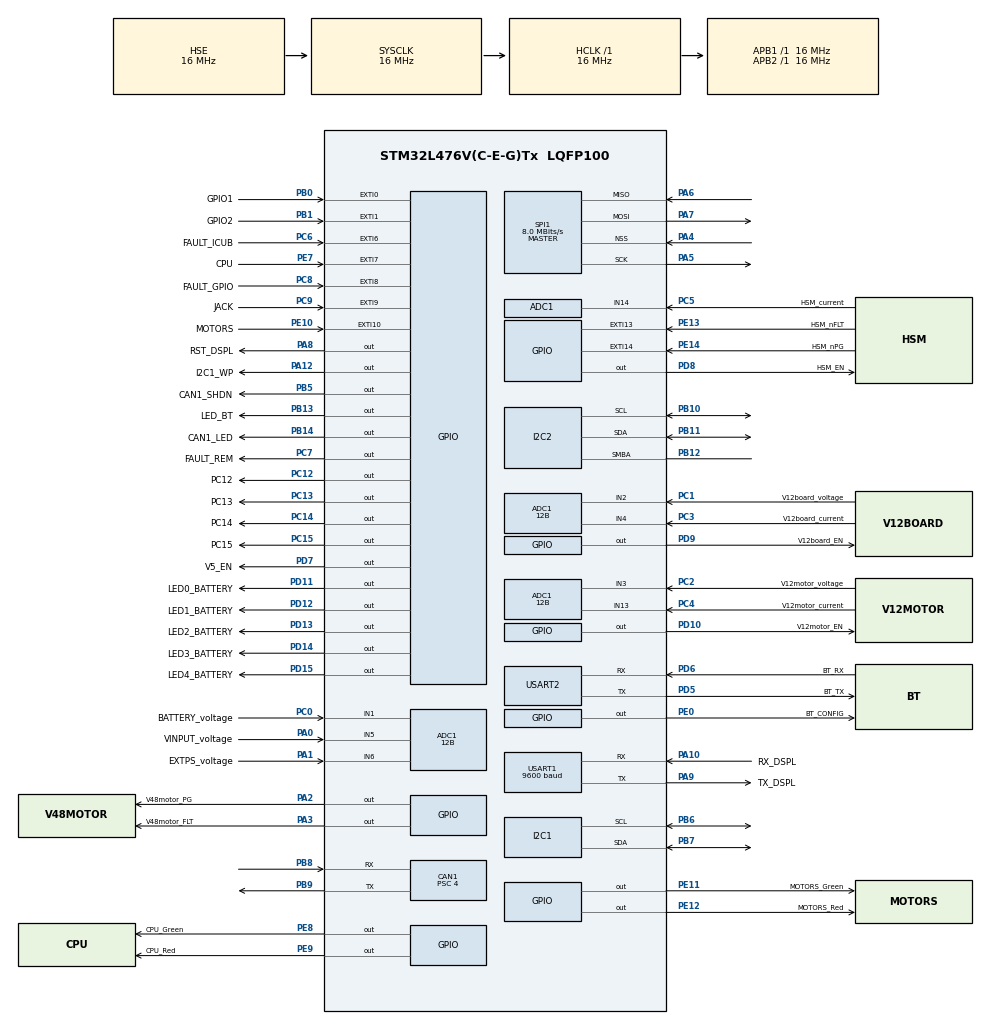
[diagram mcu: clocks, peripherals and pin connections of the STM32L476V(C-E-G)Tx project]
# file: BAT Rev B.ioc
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ADC1.Channel-11\#ChannelRegularConversion=ADC_CHANNEL_TEMPSENSOR
ADC1.Channel-2\#ChannelRegularConversion=ADC_CHANNEL_5
ADC1.Channel-3\#ChannelRegularConversion=ADC_CHANNEL_6
ADC1.Channel-4\#ChannelRegularConversion=ADC_CHANNEL_1
ADC1.Channel-5\#ChannelRegularConversion=ADC_CHANNEL_2
ADC1.Channel-6\#ChannelRegularConversion=ADC_CHANNEL_3
ADC1.Channel-7\#ChannelRegularConversion=ADC_CHANNEL_4
ADC1.Channel-8\#ChannelRegularConversion=ADC_CHANNEL_13
ADC1.Channel-9\#ChannelRegularConversion=ADC_CHANNEL_14
ADC1.ClockPrescaler=ADC_CLOCK_SYNC_PCLK_DIV1
ADC1.ContinuousConvMode=ENABLE
ADC1.DMAContinuousRequests=ENABLE
ADC1.DataAlign=ADC_DATAALIGN_RIGHT
ADC1.DiscontinuousConvMode=DISABLE
ADC1.EOCSelection=ADC_EOC_SEQ_CONV
ADC1.EnableAnalogWatchDog1=false
ADC1.EnableAnalogWatchDog2=false
ADC1.EnableAnalogWatchDog3=false
ADC1.EnableInjectedConversion=DISABLE
ADC1.EnableRegularConversion=ENABLE
ADC1.ExternalTrigConv=ADC_SOFTWARE_START
ADC1.ExternalTrigConvEdge=ADC_EXTERNALTRIGCONVEDGE_NONE
ADC1.LowPowerAutoWait=DISABLE
ADC1.NbrOfConversion=9
ADC1.NbrOfConversionFlag=1
ADC1.OffsetNumber-11\#ChannelRegularConversion=ADC_OFFSET_NONE
ADC1.OffsetNumber-2\#ChannelRegularConversion=ADC_OFFSET_NONE
ADC1.OffsetNumber-3\#ChannelRegularConversion=ADC_OFFSET_NONE
ADC1.OffsetNumber-4\#ChannelRegularConversion=ADC_OFFSET_NONE
ADC1.OffsetNumber-5\#ChannelRegularConversion=ADC_OFFSET_NONE
ADC1.OffsetNumber-6\#ChannelRegularConversion=ADC_OFFSET_NONE
ADC1.OffsetNumber-7\#ChannelRegularConversion=ADC_OFFSET_NONE
ADC1.OffsetNumber-8\#ChannelRegularConversion=ADC_OFFSET_NONE
ADC1.OffsetNumber-9\#ChannelRegularConversion=ADC_OFFSET_NONE
ADC1.Overrun=ADC_OVR_DATA_PRESERVED
ADC1.OversamplingMode=DISABLE
ADC1.Rank-11\#ChannelRegularConversion=9
ADC1.Rank-2\#ChannelRegularConversion=1
ADC1.Rank-3\#ChannelRegularConversion=2
ADC1.Rank-4\#ChannelRegularConversion=3
ADC1.Rank-5\#ChannelRegularConversion=4
ADC1.Rank-6\#ChannelRegularConversion=5
ADC1.Rank-7\#ChannelRegularConversion=6
ADC1.Rank-8\#ChannelRegularConversion=7
ADC1.Rank-9\#ChannelRegularConversion=8
ADC1.Resolution=ADC_RESOLUTION_12B
ADC1.SamplingTime-11\#ChannelRegularConversion=ADC_SAMPLETIME_12CYCLES_5
ADC1.SamplingTime-2\#ChannelRegularConversion=ADC_SAMPLETIME_12CYCLES_5
ADC1.SamplingTime-3\#ChannelRegularConversion=ADC_SAMPLETIME_12CYCLES_5
ADC1.SamplingTime-4\#ChannelRegularConversion=ADC_SAMPLETIME_12CYCLES_5
ADC1.SamplingTime-5\#ChannelRegularConversion=ADC_SAMPLETIME_12CYCLES_5
ADC1.SamplingTime-6\#ChannelRegularConversion=ADC_SAMPLETIME_12CYCLES_5
ADC1.SamplingTime-7\#ChannelRegularConversion=ADC_SAMPLETIME_12CYCLES_5
ADC1.SamplingTime-8\#ChannelRegularConversion=ADC_SAMPLETIME_12CYCLES_5
ADC1.SamplingTime-9\#ChannelRegularConversion=ADC_SAMPLETIME_12CYCLES_5
ADC1.ScanConvMode=ADC_SCAN_ENABLE
ADC1.master=1
CAN1.ABOM=ENABLE
CAN1.AWUM=ENABLE
CAN1.BS1=CAN_BS1_2TQ
CAN1.CalculateTimeBit=12000
CAN1.CalculateTimeQuantum=250.0
CAN1.Prescaler=4
Dma.ADC1.4.Direction=DMA_PERIPH_TO_MEMORY
Dma.ADC1.4.Instance=DMA1_Channel1
Dma.ADC1.4.MemDataAlignment=DMA_MDATAALIGN_WORD
Dma.ADC1.4.MemInc=DMA_MINC_ENABLE
Dma.ADC1.4.Mode=DMA_CIRCULAR
Dma.ADC1.4.PeriphDataAlignment=DMA_PDATAALIGN_WORD
Dma.ADC1.4.PeriphInc=DMA_PINC_DISABLE
Dma.ADC1.4.Priority=DMA_PRIORITY_LOW
Dma.Request0=USART1_TX
Dma.Request1=USART1_RX
Dma.Request2=USART2_TX
Dma.Request3=USART2_RX
Dma.Request4=ADC1
Dma.USART1_RX.1.Direction=DMA_PERIPH_TO_MEMORY
Dma.USART1_RX.1.Instance=DMA1_Channel5
Dma.USART1_RX.1.MemDataAlignment=DMA_MDATAALIGN_BYTE
Dma.USART1_RX.1.MemInc=DMA_MINC_ENABLE
Dma.USART1_RX.1.Mode=DMA_NORMAL
Dma.USART1_RX.1.PeriphDataAlignment=DMA_PDATAALIGN_BYTE
Dma.USART1_RX.1.PeriphInc=DMA_PINC_DISABLE
Dma.USART1_RX.1.Priority=DMA_PRIORITY_LOW
Dma.USART1_TX.0.Direction=DMA_MEMORY_TO_PERIPH
Dma.USART1_TX.0.Instance=DMA1_Channel4
Dma.USART1_TX.0.MemDataAlignment=DMA_MDATAALIGN_BYTE
Dma.USART1_TX.0.MemInc=DMA_MINC_ENABLE
Dma.USART1_TX.0.Mode=DMA_NORMAL
Dma.USART1_TX.0.PeriphDataAlignment=DMA_PDATAALIGN_BYTE
Dma.USART1_TX.0.PeriphInc=DMA_PINC_DISABLE
Dma.USART1_TX.0.Priority=DMA_PRIORITY_LOW
Dma.USART2_RX.3.Direction=DMA_PERIPH_TO_MEMORY
Dma.USART2_RX.3.Instance=DMA1_Channel6
Dma.USART2_RX.3.MemDataAlignment=DMA_MDATAALIGN_BYTE
Dma.USART2_RX.3.MemInc=DMA_MINC_ENABLE
Dma.USART2_RX.3.Mode=DMA_NORMAL
Dma.USART2_RX.3.PeriphDataAlignment=DMA_PDATAALIGN_BYTE
Dma.USART2_RX.3.PeriphInc=DMA_PINC_DISABLE
Dma.USART2_RX.3.Priority=DMA_PRIORITY_LOW
Dma.USART2_TX.2.Direction=DMA_MEMORY_TO_PERIPH
Dma.USART2_TX.2.Instance=DMA1_Channel7
Dma.USART2_TX.2.MemDataAlignment=DMA_MDATAALIGN_BYTE
Dma.USART2_TX.2.MemInc=DMA_MINC_ENABLE
Dma.USART2_TX.2.Mode=DMA_NORMAL
Dma.USART2_TX.2.PeriphDataAlignment=DMA_PDATAALIGN_BYTE
Dma.USART2_TX.2.PeriphInc=DMA_PINC_DISABLE
Dma.USART2_TX.2.Priority=DMA_PRIORITY_LOW
I2C1.Timing=0x00303D5B
I2C2.Timeout=0x000080C3
I2C2.Timing=0x00303D5B
Mcu.Family=STM32L4
Mcu.Name=STM32L476V(C-E-G)Tx
Mcu.Package=LQFP100
NVIC.ADC1_2_IRQn=true\:0\:0\:false\:false\:true\:true
NVIC.CAN1_RX0_IRQn=true\:0\:0\:false\:false\:true\:true
NVIC.CAN1_RX1_IRQn=true\:0\:0\:false\:false\:true\:true
NVIC.CAN1_SCE_IRQn=true\:0\:0\:false\:false\:true\:true
NVIC.CAN1_TX_IRQn=true\:0\:0\:false\:false\:true\:true
NVIC.DMA1_Channel1_IRQn=true\:0\:0\:true\:false\:true\:false
NVIC.DMA1_Channel4_IRQn=true\:0\:0\:false\:false\:true\:false
NVIC.DMA1_Channel5_IRQn=true\:0\:0\:false\:false\:true\:false
NVIC.DMA1_Channel6_IRQn=true\:0\:0\:false\:false\:true\:false
NVIC.DMA1_Channel7_IRQn=true\:0\:0\:false\:false\:true\:false
NVIC.EXTI0_IRQn=true\:0\:0\:false\:false\:true\:true
NVIC.EXTI15_10_IRQn=true\:0\:0\:false\:false\:true\:true
NVIC.EXTI1_IRQn=true\:0\:0\:false\:false\:true\:true
NVIC.EXTI9_5_IRQn=true\:0\:0\:false\:false\:true\:true
NVIC.PriorityGroup=NVIC_PRIORITYGROUP_4
NVIC.RCC_IRQn=true\:0\:0\:false\:false\:true\:true
NVIC.TIM1_BRK_TIM15_IRQn=true\:0\:0\:false\:false\:true\:true
NVIC.TIM1_CC_IRQn=true\:0\:0\:false\:false\:true\:true
NVIC.TIM1_TRG_COM_TIM17_IRQn=true\:0\:0\:false\:false\:true\:true
NVIC.TIM1_UP_TIM16_IRQn=true\:0\:0\:false\:false\:true\:true
NVIC.TIM2_IRQn=true\:0\:0\:false\:false\:true\:true
NVIC.TIM6_DAC_IRQn=true\:0\:0\:false\:false\:true\:true
NVIC.TIM7_IRQn=true\:0\:0\:false\:false\:true\:true
NVIC.USART1_IRQn=true\:0\:0\:false\:false\:true\:true
NVIC.USART2_IRQn=true\:0\:0\:false\:false\:true\:true
PA0.GPIO_Label=VINPUT_voltage
PA0.Signal=ADCx_IN5
PA1.GPIO_Label=EXTPS_voltage
PA1.Signal=ADCx_IN6
PA10.GPIO_Label=RX_DSPL
PA10.Mode=Asynchronous
PA10.Signal=USART1_RX
PA12.GPIO_Label=I2C1_WP
PA12.Signal=GPIO_Output
PA13\ (JTMS-SWDIO).Mode=Serial_Wire
PA13\ (JTMS-SWDIO).Signal=SYS_JTMS-SWDIO
PA14\ (JTCK-SWCLK).Mode=Serial_Wire
PA14\ (JTCK-SWCLK).Signal=SYS_JTCK-SWCLK
PA2.GPIO_Label=V48motor_PG
PA2.Signal=GPIO_Output
PA3.GPIO_Label=V48motor_FLT
PA3.Signal=GPIO_Output
PA4.Mode=NSS_Signal_Hard_Input
PA4.Signal=SPI1_NSS
PA5.Mode=Full_Duplex_Master
PA5.Signal=SPI1_SCK
PA6.Mode=Full_Duplex_Master
PA6.Signal=SPI1_MISO
PA7.Mode=Full_Duplex_Master
PA7.Signal=SPI1_MOSI
PA8.GPIO_Label=RST_DSPL
PA8.Signal=GPIO_Output
PA9.GPIO_Label=TX_DSPL
PA9.Mode=Asynchronous
PA9.Signal=USART1_TX
PB0.GPIO_Label=GPIO1
PB0.GPIO_ModeDefaultEXTI=GPIO_MODE_IT_FALLING
PB0.GPIO_PuPd=GPIO_PULLUP
PB0.Signal=GPXTI0
PB1.GPIO_Label=GPIO2
PB1.GPIO_ModeDefaultEXTI=GPIO_MODE_IT_FALLING
PB1.GPIO_PuPd=GPIO_PULLUP
PB1.Signal=GPXTI1
PB10.Mode=SMBus-Alert-mode
PB10.Signal=I2C2_SCL
PB11.Mode=SMBus-Alert-mode
PB11.Signal=I2C2_SDA
PB12.Mode=SMBus-Alert-mode
PB12.Signal=I2C2_SMBA
PB13.GPIO_Label=LED_BT
PB13.Signal=GPIO_Output
PB14.GPIO_Label=CAN1_LED
PB14.Signal=GPIO_Output
PB5.GPIO_Label=CAN1_SHDN
PB5.Signal=GPIO_Output
PB6.Mode=I2C
PB6.Signal=I2C1_SCL
PB7.Mode=I2C
PB7.Signal=I2C1_SDA
PB8.Mode=Master
PB8.Signal=CAN1_RX
PB9.Mode=Master
PB9.Signal=CAN1_TX
PC0.GPIO_Label=BATTERY_voltage
PC0.Signal=ADCx_IN1
PC1.GPIO_Label=V12board_voltage
PC1.Signal=ADCx_IN2
PC12.GPIO_Label=PC12
PC12.Signal=GPIO_Output
PC13.GPIO_Label=PC13
PC13.Signal=GPIO_Output
PC14-OSC32_IN\ (PC14).GPIO_Label=PC14
PC14-OSC32_IN\ (PC14).Signal=GPIO_Output
PC15-OSC32_OUT\ (PC15).GPIO_Label=PC15
PC15-OSC32_OUT\ (PC15).Signal=GPIO_Output
PC2.GPIO_Label=V12motor_voltage
PC2.Signal=ADCx_IN3
PC3.GPIO_Label=V12board_current
PC3.Signal=ADCx_IN4
PC4.GPIO_Label=V12motor_current
PC4.Signal=ADCx_IN13
PC5.GPIO_Label=HSM_current
PC5.Signal=ADCx_IN14
PC6.GPIO_Label=FAULT_ICUB
PC6.GPIO_ModeDefaultEXTI=GPIO_MODE_IT_RISING_FALLING
PC6.GPIO_PuPd=GPIO_PULLUP
PC6.Signal=GPXTI6
PC7.GPIO_Label=FAULT_REM
PC7.Signal=GPIO_Output
PC8.GPIO_Label=FAULT_GPIO
PC8.GPIO_ModeDefaultEXTI=GPIO_MODE_IT_RISING_FALLING
PC8.GPIO_PuPd=GPIO_PULLUP
PC8.Signal=GPXTI8
PC9.GPIO_Label=JACK
PC9.GPIO_ModeDefaultEXTI=GPIO_MODE_IT_RISING_FALLING
PC9.GPIO_PuPd=GPIO_PULLUP
PC9.Signal=GPXTI9
PD10.GPIO_Label=V12motor_EN
PD10.Signal=GPIO_Output
PD11.GPIO_Label=LED0_BATTERY
PD11.Signal=GPIO_Output
PD12.GPIO_Label=LED1_BATTERY
PD12.Signal=GPIO_Output
PD13.GPIO_Label=LED2_BATTERY
PD13.Signal=GPIO_Output
PD14.GPIO_Label=LED3_BATTERY
PD14.Signal=GPIO_Output
PD15.GPIO_Label=LED4_BATTERY
PD15.Signal=GPIO_Output
PD5.GPIO_Label=BT_TX
PD5.Mode=Asynchronous
PD5.Signal=USART2_TX
PD6.GPIO_Label=BT_RX
PD6.Mode=Asynchronous
PD6.Signal=USART2_RX
PD7.GPIO_Label=V5_EN
PD7.Signal=GPIO_Output
PD8.GPIO_Label=HSM_EN
PD8.Signal=GPIO_Output
PD9.GPIO_Label=V12board_EN
PD9.Signal=GPIO_Output
PE0.GPIO_Label=BT_CONFIG
PE0.GPIO_PuPd=GPIO_PULLUP
PE0.GPIO_Speed=GPIO_SPEED_FREQ_LOW
PE0.PinState=GPIO_PIN_SET
PE0.Signal=GPIO_Output
PE10.GPIO_Label=MOTORS
PE10.GPIO_ModeDefaultEXTI=GPIO_MODE_IT_FALLING
PE10.GPIO_PuPd=GPIO_PULLUP
PE10.Signal=GPXTI10
PE11.GPIO_Label=MOTORS_Green
PE11.Signal=GPIO_Output
PE12.GPIO_Label=MOTORS_Red
PE12.Signal=GPIO_Output
PE13.GPIO_Label=HSM_nFLT
PE13.GPIO_ModeDefaultEXTI=GPIO_MODE_IT_RISING_FALLING
PE13.GPIO_PuPd=GPIO_PULLUP
PE13.Signal=GPXTI13
PE14.GPIO_Label=HSM_nPG
PE14.GPIO_ModeDefaultEXTI=GPIO_MODE_IT_RISING_FALLING
PE14.GPIO_PuPd=GPIO_PULLUP
PE14.Signal=GPXTI14
PE7.GPIO_Label=CPU
PE7.GPIO_ModeDefaultEXTI=GPIO_MODE_IT_FALLING
PE7.GPIO_PuPd=GPIO_PULLUP
PE7.Signal=GPXTI7
PE8.GPIO_Label=CPU_Green
PE8.Signal=GPIO_Output
PE9.GPIO_Label=CPU_Red
PE9.Signal=GPIO_Output
PH0-OSC_IN\ (PH0).Mode=HSE-External-Oscillator
PH0-OSC_IN\ (PH0).Signal=RCC_OSC_IN
PH1-OSC_OUT\ (PH1).Mode=HSE-External-Oscillator
PH1-OSC_OUT\ (PH1).Signal=RCC_OSC_OUT
ProjectManager.HeapSize=0x200
ProjectManager.StackSize=0x400
ProjectManager.TargetToolchain=MDK-ARM V5
RCC.ADCFreq_Value=80000000
RCC.AHBFreq_Value=16000000
RCC.APB1Freq_Value=16000000
RCC.APB1TimFreq_Value=16000000
RCC.APB2Freq_Value=16000000
RCC.APB2TimFreq_Value=16000000
RCC.CortexFreq_Value=16000000
RCC.HCLKFreq_Value=16000000
RCC.HSE_VALUE=16000000
RCC.HSI_VALUE=16000000
RCC.LSE_VALUE=32768
RCC.MSI_VALUE=4000000
RCC.PLLSAI1N=10
RCC.PLLSourceVirtual=RCC_PLLSOURCE_HSE
RCC.SYSCLKFreq_VALUE=16000000
RCC.SYSCLKSource=RCC_SYSCLKSOURCE_HSE
RCC.USBFreq_Value=80000000
RCC.VCOOutputFreq_Value=128000000
SH.ADCx_IN1.0=ADC1_IN1,IN1-Single-Ended
SH.ADCx_IN13.0=ADC1_IN13,IN13-Single-Ended
SH.ADCx_IN14.0=ADC1_IN14,IN14-Single-Ended
SH.ADCx_IN2.0=ADC1_IN2,IN2-Single-Ended
SH.ADCx_IN3.0=ADC1_IN3,IN3-Single-Ended
SH.ADCx_IN4.0=ADC1_IN4,IN4-Single-Ended
SH.ADCx_IN5.0=ADC1_IN5,IN5-Single-Ended
SH.ADCx_IN6.0=ADC1_IN6,IN6-Single-Ended
SPI1.BaudRatePrescaler=SPI_BAUDRATEPRESCALER_2
SPI1.CalculateBaudRate=8.0 MBits/s
SPI1.Direction=SPI_DIRECTION_2LINES
SPI1.Mode=SPI_MODE_MASTER
SPI1.VirtualNSS=VM_NSSHARD
SPI1.VirtualType=VM_MASTER
TIM1.Period=10000
TIM1.Prescaler=16
TIM15.Period=10000
TIM15.Prescaler=16
TIM16.Period=10000
TIM16.Prescaler=160
TIM17.Period=10000
TIM17.Prescaler=1600
TIM2.Period=10000
TIM2.Prescaler=16
TIM6.Period=100
TIM6.Prescaler=16
TIM7.Period=1000
TIM7.Prescaler=16
USART1.BaudRate=9600
USART1.HwFlowCtl-Asynchronous=UART_HWCONTROL_NONE
USART1.VirtualMode-Asynchronous=VM_ASYNC
USART2.AutoBaudRateEnableParam=UART_ADVFEATURE_AUTOBAUDRATE_DISABLE
USART2.DataInvertParam=ADVFEATURE_DATAINV_DISABLE
USART2.HwFlowCtl-Asynchronous=UART_HWCONTROL_RTS_CTS
USART2.MSBFirstParam=ADVFEATURE_MSBFIRST_DISABLE
USART2.RxPinLevelInvertParam=ADVFEATURE_RXINV_DISABLE
USART2.SwapParam=ADVFEATURE_SWAP_DISABLE
USART2.TxPinLevelInvertParam=ADVFEATURE_TXINV_DISABLE
USART2.VirtualMode-Asynchronous=VM_ASYNC
VP_ADC1_TempSens_Input.Mode=IN-TempSens
VP_TIM15_VS_ClockSourceINT.Mode=Internal
VP_TIM16_VS_ClockSourceINT.Mode=Enable_Timer
VP_TIM17_VS_ClockSourceINT.Mode=Enable_Timer
VP_TIM1_VS_ClockSourceINT.Mode=Internal
VP_TIM2_VS_ClockSourceINT.Mode=Internal
VP_TIM6_VS_ClockSourceINT.Mode=Enable_Timer
VP_TIM7_VS_ClockSourceINT.Mode=Enable_Timer
board=custom

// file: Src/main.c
/* USER CODE BEGIN Header */
/**
  ******************************************************************************
  * @file           : main.c
  * @brief          : Main program body
  ******************************************************************************
  ** This notice applies to any and all portions of this file
  * that are not between comment pairs USER CODE BEGIN and
  * USER CODE END. Other portions of this file, whether
  * inserted by the user or by software development tools
  * are owned by their respective copyright owners.
  *
  * COPYRIGHT(c) 2018 STMicroelectronics
  *
  * Redistribution and use in source and binary forms, with or without modification,
  * are permitted provided that the following conditions are met:
  *   1. Redistributions of source code must retain the above copyright notice,
  *      this list of conditions and the following disclaimer.
  *   2. Redistributions in binary form must reproduce the above copyright notice,
  *      this list of conditions and the following disclaimer in the documentation
  *      and/or other materials provided with the distribution.
  *   3. Neither the name of STMicroelectronics nor the names of its contributors
  *      may be used to endorse or promote products derived from this software
  *      without specific prior written permission.
  *
  * THIS SOFTWARE IS PROVIDED BY THE COPYRIGHT HOLDERS AND CONTRIBUTORS "AS IS"
  * AND ANY EXPRESS OR IMPLIED WARRANTIES, INCLUDING, BUT NOT LIMITED TO, THE
  * IMPLIED WARRANTIES OF MERCHANTABILITY AND FITNESS FOR A PARTICULAR PURPOSE ARE
  * DISCLAIMED. IN NO EVENT SHALL THE COPYRIGHT HOLDER OR CONTRIBUTORS BE LIABLE
  * FOR ANY DIRECT, INDIRECT, INCIDENTAL, SPECIAL, EXEMPLARY, OR CONSEQUENTIAL
  * DAMAGES (INCLUDING, BUT NOT LIMITED TO, PROCUREMENT OF SUBSTITUTE GOODS OR
  * SERVICES; LOSS OF USE, DATA, OR PROFITS; OR BUSINESS INTERRUPTION) HOWEVER
  * CAUSED AND ON ANY THEORY OF LIABILITY, WHETHER IN CONTRACT, STRICT LIABILITY,
  * OR TORT (INCLUDING NEGLIGENCE OR OTHERWISE) ARISING IN ANY WAY OUT OF THE USE
  * OF THIS SOFTWARE, EVEN IF ADVISED OF THE POSSIBILITY OF SUCH DAMAGE.
  *
  ******************************************************************************
  */
/* USER CODE END Header */

#include "main.h"
#include "adc.h"
#include "can.h"
#include "dma.h"
#include "i2c.h"
#include "spi.h"
#include "tim.h"
#include "usart.h"
#include "gpio.h"

/* USER CODE BEGIN Includes */
#include "define.h"
#include "global_var.h"
#include "can_utility.h"
#include "BAT_B.h"
#include "Display_uOLED.h"
#include "RN4871.h"

/* USER CODE END Includes */

/* USER CODE BEGIN PV */
/* Private variables ---------------------------------------------------------*/

/* USER CODE END PV */

void SystemClock_Config(void);
/* USER CODE BEGIN PFP */
/* Private function prototypes -----------------------------------------------*/

//static void Error_Handler(void);
void CANBUS(void);
void displayCharge(void);
void calcMean(void);
void lightupLed(uint16_t lightup);
void checkHSM(void);
void dcdc_management(void);
void FAULT_CHECK(void);

/* USER CODE END PFP */

int main(void)
{

  /* MCU Configuration--------------------------------------------------------*/

  /* Reset of all peripherals, Initializes the Flash interface and the Systick. */
  HAL_Init();

  /* Configure the system clock */
  SystemClock_Config();

  /* Initialize all configured peripherals */
  MX_GPIO_Init();
  MX_DMA_Init();
  MX_ADC1_Init();
  MX_CAN1_Init();
  MX_I2C1_Init();
  MX_I2C2_SMBUS_Init();
  MX_SPI1_Init();
  MX_USART1_UART_Init();
  MX_USART2_UART_Init();
  MX_TIM1_Init();
  MX_TIM2_Init();
  MX_TIM6_Init();
  MX_TIM7_Init();
  MX_TIM15_Init();
  MX_TIM16_Init();
  MX_TIM17_Init();
  /* USER CODE BEGIN 2 */

  //  HAL_TIM_Base_Start_IT(&htim6);    // 100us
  HAL_TIM_Base_Start_IT(&htim7);    // 1ms
  HAL_TIM_Base_Start_IT(&htim15);   // 10ms
  HAL_TIM_Base_Start_IT(&htim16);   // 100ms
  HAL_TIM_Base_Start_IT(&htim17);   // 1s
  HAL_TIM_IRQHandler(&htim1);
  HAL_TIM_IRQHandler(&htim2);
//  HAL_TIM_IRQHandler(&htim6);
  HAL_TIM_IRQHandler(&htim7);
  HAL_TIM_IRQHandler(&htim15);
  HAL_TIM_IRQHandler(&htim16);
  HAL_TIM_IRQHandler(&htim17);

  // ----------------------------------------------------------------------------
  // Initialization
  // ----------------------------------------------------------------------------
  CAN_Config();
  Display_uOLED_init();
  //RN4871_Config();

  HAL_ADCEx_Calibration_Start(&hadc1, ADC_SINGLE_ENDED);
  HAL_Delay(100);
  HAL_ADC_Start_DMA(&hadc1, (uint32_t*)adc_values, 9);

  V5_EN_ON;
  RST_DSPL_ON;
  FAULT_REM_ON;
  LED_BT_OFF;

  /* USER CODE END 2 */

  /* Infinite loop */
  /* USER CODE BEGIN WHILE */

  //uint8_t RN4871_TEST[5] = {0x01, 0x02, 0x03};
  //uint8_t RN4871_TEST[] = "$$$";
  //uint8_t RN4871_Reset[] = "SF,1,2\r\n";
//  uint8_t RN4871_Reboot[] = "R,1\r\n";
  while (1)
  {
    /* USER CODE END WHILE */

    /* USER CODE BEGIN 3 */
//    HAL_UART_Transmit_DMA(&huart2, (uint8_t*)RN4871_TEST, sizeof(RN4871_TEST)-1);
//    HAL_Delay(100);
//    HAL_Delay(10);
//    HAL_UART_Transmit_DMA(&huart2, (uint8_t*)RN4871_Reset, sizeof(RN4871_Reset)-1);
//    HAL_Delay(10);
//    HAL_UART_Transmit_DMA(&huart2, (uint8_t*)RN4871_Reboot, sizeof(RN4871_Reboot)-1);
//    HAL_Delay(10);
//    HAL_Delay(1000);

  }
  /* USER CODE END 3 */
}

void SystemClock_Config(void)
{
  RCC_OscInitTypeDef RCC_OscInitStruct = {0};
  RCC_ClkInitTypeDef RCC_ClkInitStruct = {0};
  RCC_PeriphCLKInitTypeDef PeriphClkInit = {0};

  /**Initializes the CPU, AHB and APB busses clocks
  */
  RCC_OscInitStruct.OscillatorType = RCC_OSCILLATORTYPE_HSE;
  RCC_OscInitStruct.HSEState = RCC_HSE_ON;
  RCC_OscInitStruct.PLL.PLLState = RCC_PLL_NONE;
  if (HAL_RCC_OscConfig(&RCC_OscInitStruct) != HAL_OK)
  {
    Error_Handler();
  }
  /**Initializes the CPU, AHB and APB busses clocks
  */
  RCC_ClkInitStruct.ClockType = RCC_CLOCKTYPE_HCLK|RCC_CLOCKTYPE_SYSCLK
                              |RCC_CLOCKTYPE_PCLK1|RCC_CLOCKTYPE_PCLK2;
  RCC_ClkInitStruct.SYSCLKSource = RCC_SYSCLKSOURCE_HSE;
  RCC_ClkInitStruct.AHBCLKDivider = RCC_SYSCLK_DIV1;
  RCC_ClkInitStruct.APB1CLKDivider = RCC_HCLK_DIV1;
  RCC_ClkInitStruct.APB2CLKDivider = RCC_HCLK_DIV1;

  if (HAL_RCC_ClockConfig(&RCC_ClkInitStruct, FLASH_LATENCY_0) != HAL_OK)
  {
    Error_Handler();
  }
  PeriphClkInit.PeriphClockSelection = RCC_PERIPHCLK_USART1|RCC_PERIPHCLK_USART2
                              |RCC_PERIPHCLK_I2C1|RCC_PERIPHCLK_I2C2;
  PeriphClkInit.Usart1ClockSelection = RCC_USART1CLKSOURCE_PCLK2;
  PeriphClkInit.Usart2ClockSelection = RCC_USART2CLKSOURCE_PCLK1;
  PeriphClkInit.I2c1ClockSelection = RCC_I2C1CLKSOURCE_PCLK1;
  PeriphClkInit.I2c2ClockSelection = RCC_I2C2CLKSOURCE_PCLK1;
  if (HAL_RCCEx_PeriphCLKConfig(&PeriphClkInit) != HAL_OK)
  {
    Error_Handler();
  }
  /**Configure the main internal regulator output voltage
  */
  if (HAL_PWREx_ControlVoltageScaling(PWR_REGULATOR_VOLTAGE_SCALE1) != HAL_OK)
  {
    Error_Handler();
  }
}

/* USER CODE BEGIN 4 */

// -----------------------------------------------------------------------------------------------------------------------------
// Timers
// -----------------------------------------------------------------------------------------------------------------------------
void HAL_TIM_PeriodElapsedCallback(TIM_HandleTypeDef *htim){
  if(htim->Instance==TIM1){        // timer 10ms
    if(HAL_GPIO_ReadPin(CPU)==0 || HAL_GPIO_ReadPin(GPIO1)==0){
      if(PB1_counter_debounce<timer_debounce){
				PB1_counter_debounce++;
			}
      else if(PB1_counter_debounce==timer_debounce){
        PB1_debounce=1;
        PB1_counter_debounce++;
      }
      else if(PB1_counter_debounce<timer_restart && (V12board_F==1)){
        PB1_counter_debounce++;
      }
      else if(V12board_F==1){
        PB1_status=1;
        HAL_TIM_Base_Stop_IT(&htim1);
				PB1_restart=1;                          // comando valido per il restart dopo il fault
				PB1_debounce=0;
      }
    }
    else{
      PB1_status=1;
      HAL_TIM_Base_Stop_IT(&htim1);
    }
  }
  if(htim->Instance==TIM2){        // timer 10ms
    if(HAL_GPIO_ReadPin(MOTORS)==0 || HAL_GPIO_ReadPin(GPIO2)==0){
      if(PB2_counter_debounce<timer_debounce){
				PB2_counter_debounce++;
			}
      else if(PB2_counter_debounce==timer_debounce){
        PB2_debounce=1;
        PB2_counter_debounce++;
      }
      else if(PB2_counter_debounce<timer_restart && (V12motor_F==1 || HSM_F==1)){
        PB2_counter_debounce++;
      }
      else if(V12motor_F==1 || HSM_F==1){
        PB2_status=1;
        HAL_TIM_Base_Stop_IT(&htim2);
				PB2_restart=1;                          // comando valido per il restart dopo il fault
				PB2_debounce=0;
      }
    }
    else{
      PB2_status=1;
      HAL_TIM_Base_Stop_IT(&htim2);
    }
  }
  if(htim->Instance==TIM6){         // timer 100us
  }
  if(htim->Instance==TIM7){         // timer 1ms
    CANBUS();
    dcdc_management();
    //HAL_TIM_Base_Stop_IT(&htim10);
    //timeout=1;
  }
  if(htim->Instance==TIM15){        // timer 10ms
    displayCharge();
    checkHSM();
    #ifdef BAT_B_iCub3
      FAULT_CHECK();
    #endif
  }
  if(htim->Instance==TIM16){        // timer 100ms
    toggle_100ms = toggle_100ms^1;
  }
  if(htim->Instance==TIM17){        // timer 1s
    toggle_1s = toggle_1s^1;
    Display_uOLED_128_G2();
  }
}

// -----------------------------------------------------------------------------------------------------------------------------
// Push buttons
// -----------------------------------------------------------------------------------------------------------------------------
void HAL_GPIO_EXTI_Callback(uint16_t GPIO_Pin){
  if(GPIO_Pin==GPIO_PIN_7 || GPIO_Pin==GPIO_PIN_0){               // PB1 or external button GPIO1
    if(PB1_status==1){
      PB1_status=0;
      PB1_counter_debounce=0;
      HAL_TIM_Base_Start_IT(&htim1);   // 10ms
    }

  }
  if(GPIO_Pin==GPIO_PIN_10 || GPIO_Pin==GPIO_PIN_1){        // PB2 or external button GPIO2
    if(PB2_status==1){
      PB2_status=0;
      PB2_counter_debounce=0;
      HAL_TIM_Base_Start_IT(&htim2);   // 10ms
    }
  }
  if(GPIO_Pin==GPIO_PIN_13){        // HSM_nFLT
    if(HAL_GPIO_ReadPin(HSM_nFLT) == 0)   {V48motor_FLT_ON;     HSM_F=1;}
    else                                  {V48motor_FLT_OFF;    HSM_F=0;}
  }
  if(GPIO_Pin==GPIO_PIN_14){        // HSM_nPG
    if(HAL_GPIO_ReadPin(HSM_nPG) == 0)    {V48motor_PG_ON;      HSM_PG=1;}
    else                                  {V48motor_PG_OFF;     HSM_PG=0;}
  }

  if(GPIO_Pin==GPIO_PIN_6 || GPIO_Pin==GPIO_PIN_8 || GPIO_Pin==GPIO_PIN_9){        // FAULT_ICUB, FAULT_GPIO, JACK
    int_fault = 1;
  }

}

// -----------------------------------------------------------------------------------------------------------------------------
// USART
// -----------------------------------------------------------------------------------------------------------------------------
void HAL_UART_RxCpltCallback(UART_HandleTypeDef *huart){
  if(huart->Instance==USART2){
    UartReady = SET;      // Set transmission flag: trasfer complete
  }
}

void HAL_UART_TxCpltCallback(UART_HandleTypeDef *huart){
  if(huart->Instance==USART1){

  }
  if(huart->Instance==USART2){

  }
}

// -----------------------------------------------------------------------------------------------------------------------------
// ADC
// -----------------------------------------------------------------------------------------------------------------------------
void HAL_ADC_ConvCpltCallback(ADC_HandleTypeDef* hadc){
  HAL_GPIO_TogglePin(LED_BT);
  //HAL_ADC_Stop_DMA(&hadc1);

  adc_measure.V_VINPUT    = (*(adc_values+0))*13.31;       	// mV
  adc_measure.V_EXTPS     = (*(adc_values+1))*13.31;       	// mV
  adc_measure.V_BATTERY   = (*(adc_values+2))*13.31;       	// mV
  adc_measure.V_V12board  = (*(adc_values+3))*3.75;       	// mV
  adc_measure.V_V12motor  = (*(adc_values+4))*3.75;         // mV
  if( (*(adc_values+5)) > 2048) {adc_measure.I_V12board  = ((*(adc_values+5))-2048)*9;}  // mA
  else                          {adc_measure.I_V12board  = 0;}
  if( (*(adc_values+6)) > 2048) {adc_measure.I_V12motor  = ((*(adc_values+6))-2048)*9;}  // mA
  else                          {adc_measure.I_V12motor  = 0;}
  adc_measure.I_HSM       = ((*(adc_values+7))*8.5);       // mA
  adc_measure.Temp_sensor = (((*(adc_values+8))*80.5)-76000)/2.5+2500;       	// Temperature (in °C*100) = {(VSENSE – V25) / Avg_Slope} + 25 (page 441)
  //adc_measure.Temp_sensor = ((((*(adc_values+8))*3300)/4096)-760)/2.5+25;       	// Temperature (in °C) = {(VSENSE – V25) / Avg_Slope} + 25 (page 441)

//  adc_measure.V_VINPUT    = (*(adc_values+0));
//  adc_measure.V_EXTPS     = (*(adc_values+1));
//  adc_measure.V_BATTERY   = (*(adc_values+2));
//  adc_measure.V_V12board  = (*(adc_values+3));
//  adc_measure.V_V12motor  = (*(adc_values+4));
//  adc_measure.I_V12board  = (*(adc_values+5));
//  adc_measure.I_V12motor  = (*(adc_values+6));
//  adc_measure.I_HSM       = (*(adc_values+7));
//  adc_measure.Temp_sensor = (*(adc_values+8));

  if(adc_measure.I_V12board > I_V12board_MAX){                    // Check for board overcurrent
    if(timer_fault_board < 10)  {timer_fault_board++;}
    else                        {V12board_F = 1;}
  }else{
    if(timer_fault_board > 0)   {timer_fault_board--;}
  }

  if(adc_measure.I_V12motor > I_V12motor_MAX){                    // Check for motors overcurrent
    if(timer_fault_motors < 10) {timer_fault_motors++;}
    else                        {V12motor_F = 1;}
  }else{
    if(timer_fault_motors > 0)  {timer_fault_motors--;}
  }

  if(adc_measure.I_HSM > I_HSM_MAX){                              // Check for HSM overcurrent
    if(timer_fault_HSM < 10)    {timer_fault_HSM++;}
    else                        {HSM_F = 1;}
  }else{
    if(timer_fault_HSM > 0)     {timer_fault_HSM--;}
  }

  calcMean();

}

void calcMean(){
  adc_samples.V_VINPUT[adc_sample]    = adc_measure.V_VINPUT;
  adc_samples.V_EXTPS[adc_sample]     = adc_measure.V_EXTPS;
  adc_samples.V_BATTERY[adc_sample]   = adc_measure.V_BATTERY;
  adc_samples.V_V12board[adc_sample]  = adc_measure.V_V12board;
  adc_samples.V_V12motor[adc_sample]  = adc_measure.V_V12motor;
  adc_samples.I_V12board[adc_sample]  = adc_measure.I_V12board;
  adc_samples.I_V12motor[adc_sample]  = adc_measure.I_V12motor;
  adc_samples.I_HSM[adc_sample]       = adc_measure.I_HSM;

  if(adc_sample < (nr_adc_sample-1))  {adc_sample++;}
  else                                {adc_sample=0;}

  mean.V_VINPUT=0;
  mean.V_EXTPS=0;
  mean.V_BATTERY=0;
  mean.V_V12board=0;
  mean.V_V12motor=0;
  mean.I_V12board=0;
  mean.I_V12motor=0;
  mean.I_HSM =0;

  for(uint16_t i=0; i < nr_adc_sample; i++){
    mean.V_VINPUT   += adc_samples.V_VINPUT[i];
    mean.V_EXTPS    += adc_samples.V_EXTPS[i];
    mean.V_BATTERY  += adc_samples.V_BATTERY[i];
    mean.V_V12board += adc_samples.V_V12board[i];
    mean.V_V12motor += adc_samples.V_V12motor[i];
    mean.I_V12board += adc_samples.I_V12board[i];
    mean.I_V12motor += adc_samples.I_V12motor[i];
    mean.I_HSM      += adc_samples.I_HSM[i];
  }

  mean.V_VINPUT   = mean.V_VINPUT   / nr_adc_sample;
  mean.V_EXTPS    = mean.V_EXTPS    / nr_adc_sample;
  mean.V_BATTERY  = mean.V_BATTERY  / nr_adc_sample;
  mean.V_V12board = mean.V_V12board / nr_adc_sample;
  mean.V_V12motor = mean.V_V12motor / nr_adc_sample;
  mean.I_V12board = mean.I_V12board / nr_adc_sample;
  mean.I_V12motor = mean.I_V12motor / nr_adc_sample;
  mean.I_HSM      = mean.I_HSM      / nr_adc_sample;
}

// -----------------------------------------------------------------------------------------------------------------------------
// CAN messages management
// -----------------------------------------------------------------------------------------------------------------------------
void CANBUS(void){
	switch(can_message){
    case 0x00:
    {
      TxData[0] = 0xFF;               // Firmware version message
      TxData[1] = 0x02;               // Board type
      TxData[2] = Firmware_vers;      // Firmware version
      TxData[3] = Revision_vers;      // Revision version
      TxData[4] = Build_number;       // Build number
      TxData[5] = 0;
      TxData[6] = 0;
      TxData[7] = 0;
      //HAL_CAN_Transmit_IT(&hcan1);
      if (HAL_CAN_AddTxMessage(&hcan1, &TxHeader, TxData, &TxMailbox) != HAL_OK){
        /* Transmission request Error */
        Error_Handler();
      }
      can_message = 1;
    }
    break;

    case 0x01:
    {
      TxData[0] = 0x80;
      TxData[1] = 0x00;
      TxData[2] = (adc_measure.Temp_sensor >> 8) & 0xFF;
      TxData[3] = adc_measure.Temp_sensor & 0xFF;
      TxData[4] = 0x00;
      TxData[5] = 0;
      TxData[6] = 0;
      TxData[7] = 0;
      if (HAL_CAN_AddTxMessage(&hcan1, &TxHeader, TxData, &TxMailbox) != HAL_OK){
        /* Transmission request Error */
        Error_Handler();
      }
      can_message = 2;
    }
    break;

    case 0x02:
    {
      TxData[0] = 0x81;               // Voltage message
      TxData[1] = 0x00;
      TxData[2] = (mean.V_VINPUT >> 8) & 0xFF;
      TxData[3] = mean.V_VINPUT & 0xFF;
      TxData[4] = (mean.V_EXTPS >> 8) & 0xFF;
      TxData[5] = mean.V_EXTPS & 0xFF;
      TxData[6] = (mean.V_BATTERY >> 8) & 0xFF;
      TxData[7] = mean.V_BATTERY & 0xFF;
      if (HAL_CAN_AddTxMessage(&hcan1, &TxHeader, TxData, &TxMailbox) != HAL_OK){
        /* Transmission request Error */
        Error_Handler();
      }
      can_message = 3;
    }
    break;

    case 0x03:
    {
      TxData[0] = 0x82;               // Voltage message
      TxData[1] = 0x00;
      TxData[2] = (mean.V_V12board >> 8) & 0xFF;
      TxData[3] = mean.V_V12board & 0xFF;
      TxData[4] = (mean.V_V12motor >> 8) & 0xFF;
      TxData[5] = mean.V_V12motor & 0xFF;
      TxData[6] = 0x00;
      TxData[7] = 0x00;
      if (HAL_CAN_AddTxMessage(&hcan1, &TxHeader, TxData, &TxMailbox) != HAL_OK){
        /* Transmission request Error */
        Error_Handler();
      }
      can_message = 4;
    }
    break;

    case 0x04:
    {
      TxData[0] = 0x83;               // Current message
      TxData[1] = 0x00;
      TxData[2] = (mean.I_V12board >> 8) & 0xFF;
      TxData[3] = mean.I_V12board & 0xFF;
      TxData[4] = (mean.I_V12motor >> 8) & 0xFF;
      TxData[5] = mean.I_V12motor & 0xFF;
      TxData[6] = (mean.I_HSM >> 8) & 0xFF;
      TxData[7] = mean.I_HSM & 0xFF;
      if (HAL_CAN_AddTxMessage(&hcan1, &TxHeader, TxData, &TxMailbox) != HAL_OK){
        /* Transmission request Error */
        Error_Handler();
      }
      can_message = 0;
    }
    break;

    default:
    {
    }
    break;
  }
}

// -----------------------------------------------------------------------------------------------------------------------------
// Light up leds to display battery voltage
// -----------------------------------------------------------------------------------------------------------------------------
void displayCharge(void){
    //int adc_buffer_last=adc_buffer;

    if(mean.V_VINPUT < (VTH[0]+vhyst)){
        if((VTH[0]-mean.V_VINPUT) > vtol)   {vhyst=0;}
        else                                {vhyst=vtol;}
        lightupLed(0x81);     // light up LED0
    }
    else if(mean.V_VINPUT < (VTH[1]+vhyst)){
        if((VTH[1]-mean.V_VINPUT) > vtol)   {vhyst=0;}
        else                                {vhyst=vtol;}
        lightupLed(0x81);     // light up LED0
    }
    else if(mean.V_VINPUT < (VTH[2]+vhyst)){
        if((VTH[2]-mean.V_VINPUT) > vtol)   {vhyst=0;}
        else                                {vhyst=vtol;}
        lightupLed(0x01);     // light up LED0
    }
    else if(mean.V_VINPUT < (VTH[3]+vhyst)){
        if((VTH[3]-mean.V_VINPUT) > vtol)   {vhyst=0;}
        else                                {vhyst=vtol;}
        lightupLed(0x03);     // light up LED1
    }
    else if(mean.V_VINPUT < (VTH[4]+vhyst)){
        if((VTH[4]-mean.V_VINPUT) > vtol)   {vhyst=0;}
        else                                {vhyst=vtol;}
        lightupLed(0x07);     // light up LED2
    }
    else if(mean.V_VINPUT < (VTH[5]+vhyst)){
        if((VTH[5]-mean.V_VINPUT) > vtol)   {vhyst=0;}
        else                                {vhyst=vtol;}
        lightupLed(0x0f);     // light up LED3
    }
    else if(mean.V_VINPUT < (VTH[6]+vhyst)){
        if((VTH[6]-mean.V_VINPUT) > vtol)   {vhyst=0;}
        else                                {vhyst=vtol;}
        lightupLed(0x1f);     // light up LED4
    }
    else{
        vhyst=0;
        lightupLed(0x9f);     // light up LED4
    }
}

// -----------------------------------------------------------------------------------------------------------------------------
// Turn on/off and blink V-meter leds
// -----------------------------------------------------------------------------------------------------------------------------
void lightupLed(uint16_t lightup){
  uint16_t blink = toggle_100ms & (lightup>>7 & 0x01);
  HAL_GPIO_WritePin(LED0_BATTERY, (GPIO_PinState)((!(lightup    & 0x01)) || blink));
  HAL_GPIO_WritePin(LED1_BATTERY, (GPIO_PinState)((!(lightup>>1 & 0x01)) || blink));
  HAL_GPIO_WritePin(LED2_BATTERY, (GPIO_PinState)((!(lightup>>2 & 0x01)) || blink));
  HAL_GPIO_WritePin(LED3_BATTERY, (GPIO_PinState)((!(lightup>>3 & 0x01)) || blink));
  HAL_GPIO_WritePin(LED4_BATTERY, (GPIO_PinState)((!(lightup>>4 & 0x01)) || blink));
}

// -----------------------------------------------------------------------------------------------------------------------------
// Check for HSM mosfet broken
// -----------------------------------------------------------------------------------------------------------------------------
void checkHSM(){
  if(HAL_GPIO_ReadPin(HSM_nFLT) == 0)   {V48motor_FLT_ON;}
  else                                  {V48motor_FLT_OFF;}
  if(HAL_GPIO_ReadPin(HSM_nPG) == 0)    {V48motor_PG_ON;}
  else                                  {V48motor_PG_OFF;}
}

// ----------------------------------------------------------------------------
// FAULT check
// ----------------------------------------------------------------------------
void FAULT_CHECK(void){
  if(int_fault){

    if(HAL_GPIO_ReadPin(JACK) == 1)   {FAULT_REM_ON;}     // check for the link of the fault push button
    else                              {FAULT_REM_OFF;}

    if( HAL_GPIO_ReadPin(FAULT_REM) == 1 && (
      ( HAL_GPIO_ReadPin(JACK) == 0 && HAL_GPIO_ReadPin(FAULT_GPIO) == 1) ||        // there isn't the jack
      ( HAL_GPIO_ReadPin(JACK) == 1 && HAL_GPIO_ReadPin(FAULT_GPIO) == 0) ))        // there is the jack
      {                     // NO FAULT
          if(filter_fault_gpio<timer_debounce){
            filter_fault_gpio++;
          }
          else if(filter_fault_gpio==timer_debounce){     // valid command
            //LED_BT_OFF;
            fault_button=0;
            filter_fault_gpio=0;
            int_fault=0;
          }
       }
       else{                // FAULT!!!!
          if(filter_fault_gpio<timer_debounce){
              filter_fault_gpio++;
          }
          else if(filter_fault_gpio==timer_debounce){     // valid command
            //LED_BT_ON;
            fault_button=1;
            filter_fault_gpio=0;
            int_fault=0;
          }
      }
    }
}

// -----------------------------------------------------------------------------------------------------------------------------
// Finite state machine - DCDC power management - Target BAT_B_iCub3
// -----------------------------------------------------------------------------------------------------------------------------
#ifdef BAT_B_iCub3
void dcdc_management(void){

  // ----- EVENTS -------------------------------------------------- //
  if(!V12board_F){
    if(PB1_debounce){
      PB1_debounce=0;
      if(V12board)    {state_fsm_boards = OFF_BOARD;}
      else            {state_fsm_boards = ON_BOARD;}
    }
  }
  else{
    if(PB1_restart){
      state_fsm_boards = ON_BOARD;
      V12board_F=0;
      PB1_restart=0;
    }
    else{
      state_fsm_boards = FAULT_BOARD;
    }
  }

  if(!V12motor_F && !HSM_F){
    if(PB2_debounce){
      PB2_debounce=0;
      if(V12motor)    {state_fsm_motors = OFF_MOTORS;}
      else            {state_fsm_motors = ON_MOTORS;}
    }
  }
  else{
    if(PB2_restart){
      state_fsm_motors = ON_MOTORS;
      V12motor_F=0;
      PB2_restart=0;
    }
    else{
      state_fsm_motors = FAULT_MOTORS;
    }
  }

  // ----- FINITE STATE MACHINE ------------------------------------ //

	switch(state_fsm_boards){

		case START:
		{
      timerFSM_boards++;
			state_fsm_boards_prev = START;

			if(timerFSM_boards >= 10){
				state_fsm_boards = READY;
			}
    }
		break;

		case READY:
		{
      timerFSM_boards = 0;
			PB1_LED_RED;
		}
    break;

		case OFF_BOARD:
		{
      EN_V12board_OFF;
      V12board=0;
			PB1_LED_RED;
    }
    break;

		case ON_BOARD:
    {
      if(timer_delay_board < timer_delay_board_max){
        timer_delay_board++;
      }
      else{
        EN_V12board_ON;
        V12board=1;
        timer_delay_board=0;
      }
			if(V12board==0){
        if(toggle_100ms)  {PB1_LED_GREEN;}
        else              {PB1_LED_OFF;}
			}
      else                {PB1_LED_GREEN;}
		}
    break;

   	case FAULT_BOARD:
		{
      EN_V12board_OFF;
      V12board=0;
			if(toggle_100ms)  {PB1_LED_RED;}
			else              {PB1_LED_OFF;}
		}
    break;

    default:
		{

    }
		break;
	}

  switch(state_fsm_motors){

		case START:
		{
      timerFSM_motors++;
			state_fsm_motors_prev = START;

			if(timerFSM_motors >= 10){
				state_fsm_motors = READY;
			}
    }
		break;

		case READY:
		{
      timerFSM_motors = 0;
			PB2_LED_RED;
		}
    break;

		case OFF_MOTORS:
		{
      EN_V12motor_OFF;
      HSM_EN_OFF;
      V12motor=0;
      HSM=0;
			PB2_LED_RED;
    }
    break;

		case ON_MOTORS:
    {
      if(timer_delay_motor < timer_delay_motor_max){
        timer_delay_motor++;
      }
      else{
        EN_V12motor_ON;
        HSM_EN_ON;
        V12motor=1;
        HSM=1;
        timer_delay_motor=0;
      }
			if(HSM_PG==0){
        if(toggle_100ms)  {PB2_LED_GREEN;}
        else              {PB2_LED_OFF;}
			}
      else                {PB2_LED_GREEN;}
		}
    break;

		case FAULT_MOTORS:
		{
      EN_V12motor_OFF;
      HSM_EN_OFF;
      V12motor=0;
			HSM=0;
      if(toggle_100ms)  {PB2_LED_RED;}
			else              {PB2_LED_OFF;}
		}
    break;

    default:
		{

    }
		break;
	}

  DCDC_ctrl = ((V12board		& 0x01) << 7) +
              ((V12motor		& 0x01)	<< 5) +
              ((HSM           & 0x01)	<< 3) +
              (((PB1_restart || PB2_restart) & 0x01)	<< 0);

  if(DCrestart){
    PB1_restart=0;
    PB2_restart=0;
  }
}
#endif

// -----------------------------------------------------------------------------------------------------------------------------
// Finite state machine - DCDC power management - Target BAT_B_R1
// -----------------------------------------------------------------------------------------------------------------------------
#ifdef BAT_B_R1
void dcdc_management(void){

	// ----- EVENTS -------------------------------------------------- //
  if(V12board_F==0 && V12motor_F==0 && HSM_F==0){
		if(PB1_debounce){
			PB1_debounce=0;
			if(V12board || V12motor)            {state_fsm = OFF_BOARD_MOTORS;}     // if V12board or V12motor is on, switch off
			else                                {state_fsm = ON_BOARD;}             // else if V12board or V12motor is off, switch on
		}

		if(PB2_debounce){
			PB2_debounce=0;
			if      (HSM)                         	{state_fsm = ON_BOARD;}             // if HSM is on, switch off
			else if (!HSM && V12board && V12motor)	{state_fsm = ON_BOARD_MOTORS;}      // else if V12motor is off and V12board is on, switch on
		}
	}

	else{
		if(V12board_F==0 && V12motor_F==0 && HSM_F==1){
			if(PB1_debounce){
				PB1_debounce=0;
				if(V12board && V12motor)          {state_fsm = OFF_BOARD_MOTORS;}     // if V12board and V12motor are on, switch off
				else                              {state_fsm = ON_BOARD;}             // else if V12board and V12motor are off, switch on
			}
			else{
				if(PB2_restart==0)                {state_fsm = FAULT_MOTORS;}
				else{
					if(V12board && V12motor)				{state_fsm = ON_BOARD_MOTORS;}      // if V12board and V12motor are on, switch off
					else                            {state_fsm = OFF_BOARD_MOTORS;}     // else if V12board and V12motor are off, switch on

          HSM_F=0;
          PB2_restart=0;
				}
			}
		}
		else if(V12board_F==1 || V12motor_F==1){
			if(PB1_restart==0){
				if(HSM_F==1)     {state_fsm = FAULT_BOARD_MOTORS;}
				else             {state_fsm = FAULT_BOARD;}
			}
			else if(PB1_restart==1){
				state_fsm = ON_BOARD;
				V12board_F=0;
				V12motor_F=0;
        PB1_restart=0;
        PB2_debounce=0;
			}
		}
	}

  // ----- FINITE STATE MACHINE ------------------------------------ //

	switch(state_fsm){

		case START:
		{
      timerFSM++;
			state_fsm_prev = START;

			if(timerFSM >= 10){
				state_fsm = READY;
			}
    }
		break;

		case READY:
		{
      timerFSM = 0;
			PB1_LED_RED;
			PB2_LED_RED;
		}
    break;

		case OFF_BOARD_MOTORS:
		{
      EN_V12board_OFF;        // switch off V12board
      EN_V12motor_OFF;        // switch off V12motor
      HSM_EN_OFF;             // switch off HSM

      V12board=0;             // switch off V12board
			V12motor=0;             // switch off V12motor
			HSM=0;                  // switch off HSM
			PB1_LED_RED;
			PB2_LED_RED;
    }
    break;

		case ON_BOARD:
    {
			EN_V12board_ON;                             // switch on V12board
      //EN_V12motor_OFF;                            // switch off V12motor  - for iCub!
      if(V12motor==0){
        if(timer_delay_dcdc < timer_delay_dcdc_max){
          timer_delay_dcdc++;
        }
        else{
          EN_V12motor_ON;                            // switch on V12motor     - for CER!
          V12motor=1;             // switch on V12motor       - for CER!
          timer_delay_dcdc=0;
        }
      }

      HSM_EN_OFF;                                 // switch off HSM
      V12board=1;             // switch on V12board

      // V12motor=0;             // switch off V12motor   - for iCub!
			HSM=0;                  // switch off HSM
      //if(V12board==0){                                  // - for iCub
      if(V12board==0 || V12motor==0){                     // - for CER
        if(toggle_100ms)  {PB1_LED_GREEN;}
        else              {PB1_LED_OFF;}
			}
      else                {PB1_LED_GREEN;}
			PB2_LED_RED;
		}
    break;

		case ON_BOARD_MOTORS:
    {
      EN_V12board_ON;                             // switch on V12board
      EN_V12motor_ON;                             // switch on V12motor
      HSM_EN_ON;                                  // switch on HSM

      V12board=1;             // switch on V12board
			V12motor=1;             // switch on V12motor
			HSM=1;                  // switch on HSM
      //if(V12board==0){                          // - for iCub
      if(V12board==0 || V12motor==0){             // - for CER
        if(toggle_100ms)  {PB1_LED_GREEN;}
        else              {PB1_LED_OFF;}
			}
      else                {PB1_LED_GREEN;}

      //if(V12motor==0 || HSM_PG==0){             // - for iCub
      if(HSM_PG==0){                              // - for CER
        if(toggle_100ms)  {PB2_LED_GREEN;}
        else              {PB2_LED_OFF;}
			}
      else                {PB2_LED_GREEN;}
		}
    break;

		case FAULT_BOARD:
		{
      EN_V12board_OFF;                            // switch off V12board
      EN_V12motor_OFF;                            // switch off V12motor
      HSM_EN_OFF;                                 // switch off HSM

      V12board=0;             // switch off V12board
			V12motor=0;             // switch off V12motor
			HSM=0;                  // switch off HSM
			if(toggle_100ms)  {PB1_LED_RED;}
			else              {PB1_LED_OFF;}
			PB2_LED_RED;
		}
    break;

		case FAULT_MOTORS:
		{
      //EN_V12board_ON;                             // switch on V12board
      //EN_V12motor_OFF;                            // switch off V12motor
      HSM_EN_OFF;                                 // switch off HSM

      //V12board=1;           // switch on V12board
			//V12motor=0;           // switch off V12motor
			HSM=0;                  // switch off HSM
      PB1_LED_GREEN;
			if(toggle_100ms)  {PB2_LED_RED;}
			else              {PB2_LED_OFF;}
		}
    break;

		case FAULT_BOARD_MOTORS:
		{
      EN_V12board_OFF;        // switch off V12board
      EN_V12motor_OFF;        // switch off V12motor
      HSM_EN_OFF;             // switch off HSM

      V12board=0;             // switch off V12board
			V12motor=0;             // switch off V12motor
			HSM=0;                  // switch off HSM
			if(toggle_100ms)  {PB1_LED_RED;       PB2_LED_RED;}
			else              {PB1_LED_OFF;       PB2_LED_OFF;}
		}
    break;

    default:
		{

    }
		break;

	}

  DCDC_ctrl = ((V12board		& 0x01) << 7) +
              ((V12motor		& 0x01)	<< 5) +
              ((HSM           & 0x01)	<< 3) +
              (((PB1_restart || PB2_restart) & 0x01)	<< 0);

  if(DCrestart){
    PB1_restart=0;
    PB2_restart=0;
  }
}
#endif

void HAL_CAN_TxMailbox0CompleteCallback(CAN_HandleTypeDef* hcan1)
{
  HAL_GPIO_WritePin(CAN1_LED, (GPIO_PinState)toggle_100ms);
  //HAL_ADC_Start_DMA(&hadc1, (uint32_t*)adc_values, 6);
}

/* USER CODE END 4 */

void Error_Handler(void)
{
  while(1)
  {
  }
}

/************************ (C) COPYRIGHT STMicroelectronics *****END OF FILE****/
